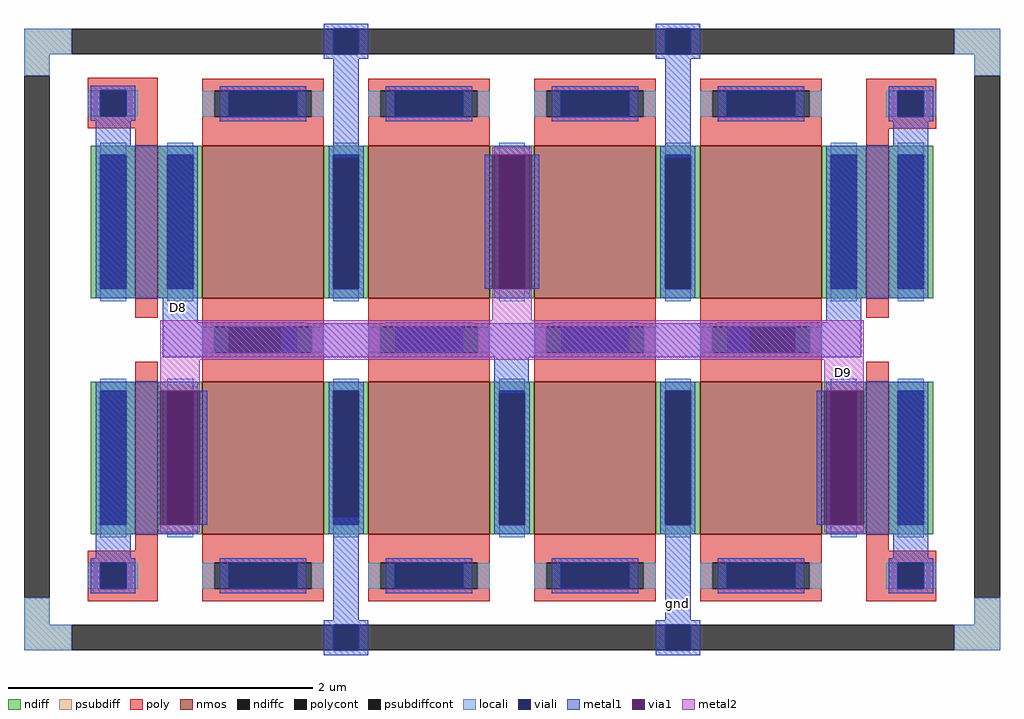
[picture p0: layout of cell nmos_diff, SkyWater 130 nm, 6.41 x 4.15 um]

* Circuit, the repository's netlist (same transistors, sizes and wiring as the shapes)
** sch_path: /home/mona121130125/op_amp/mag/nmos_diff.sch
.subckt nmos_diff D9 D8 gnd
*.PININFO D9:O gnd:B D8:O
XM8 D8 D8 gnd gnd sky130_fd_pr__nfet_01v8 L=0.8 W=1 nf=1 m=4
XM9 D9 D8 gnd gnd sky130_fd_pr__nfet_01v8 L=0.8 W=1 nf=1 m=4
XM2 D9 D9 D9 gnd sky130_fd_pr__nfet_01v8 L=0.15 W=1 nf=1 m=2
XM1 D8 D8 D8 gnd sky130_fd_pr__nfet_01v8 L=0.15 W=1 nf=1 m=2
.ends
.end

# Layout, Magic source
magic
tech sky130A
magscale 1 2
<< psubdiff >>
rect -176 718 -113 752
rect 1046 718 1106 752
rect -176 690 -142 718
rect 1072 690 1106 718
rect -176 -31 -142 4
rect 1072 -31 1106 4
rect -176 -65 -113 -31
rect 1046 -65 1106 -31
<< psubdiffcont >>
rect -113 718 1046 752
rect -176 4 -142 690
rect 1072 4 1106 690
rect -113 -65 1046 -31
<< poly >>
rect -92 671 0 687
rect -92 637 -76 671
rect -42 637 0 671
rect -92 621 0 637
rect -30 618 0 621
rect 930 670 1022 686
rect 930 636 972 670
rect 1006 636 1022 670
rect 930 620 1022 636
rect -92 50 0 66
rect -92 16 -76 50
rect -42 16 0 50
rect -92 0 0 16
rect 930 50 1022 66
rect 930 16 972 50
rect 1006 16 1022 50
rect 930 0 1022 16
<< polycont >>
rect -76 637 -42 671
rect 972 636 1006 670
rect -76 16 -42 50
rect 972 16 1006 50
<< locali >>
rect -176 718 -113 752
rect 1046 718 1106 752
rect -176 690 -142 718
rect 1072 690 1106 718
rect -92 637 -76 671
rect -42 637 -26 671
rect 956 636 972 670
rect 1006 636 1022 670
rect -92 16 -76 50
rect -42 16 -26 50
rect 956 16 972 50
rect 1006 16 1022 50
rect -176 -31 -142 4
rect 1072 -31 1106 4
rect -176 -65 -113 -31
rect 1046 -65 1106 -31
<< viali >>
rect 230 718 264 752
rect 666 718 700 752
rect -76 637 -42 671
rect 972 636 1006 670
rect -76 16 -42 50
rect 972 16 1006 50
rect 230 -65 264 -31
rect 666 -65 700 -31
<< metal1 >>
rect 218 752 276 758
rect 218 718 230 752
rect 264 718 276 752
rect 218 712 276 718
rect 654 752 712 758
rect 654 718 666 752
rect 700 718 712 752
rect 654 712 712 718
rect -88 671 -30 677
rect -88 637 -76 671
rect -42 637 -30 671
rect -88 631 -30 637
rect -82 598 -36 631
rect -82 398 52 598
rect 230 582 264 712
rect 429 410 439 586
rect 491 410 501 586
rect 666 582 700 712
rect 960 670 1018 676
rect 960 636 972 670
rect 1006 636 1018 670
rect 960 630 1018 636
rect 966 598 1012 630
rect 6 366 52 398
rect 878 398 1012 598
rect 878 366 924 398
rect 6 320 86 366
rect 162 320 777 365
rect 845 320 924 366
rect -82 276 52 288
rect -82 100 3 276
rect 55 100 65 276
rect 442 273 487 320
rect 878 276 1012 288
rect -82 88 52 100
rect -82 56 -36 88
rect -88 50 -30 56
rect -88 16 -76 50
rect -42 16 -30 50
rect -88 10 -30 16
rect 230 -25 264 110
rect 865 100 875 276
rect 927 100 1012 276
rect 666 -25 700 91
rect 878 88 1012 100
rect 966 56 1012 88
rect 960 50 1018 56
rect 960 16 972 50
rect 1006 16 1018 50
rect 960 10 1018 16
rect 218 -31 276 -25
rect 218 -65 230 -31
rect 264 -65 276 -31
rect 218 -71 276 -65
rect 654 -31 712 -25
rect 654 -65 666 -31
rect 700 -65 712 -31
rect 654 -71 712 -65
<< via1 >>
rect 439 410 491 586
rect 3 100 55 276
rect 875 100 927 276
<< metal2 >>
rect 439 586 491 596
rect 439 369 491 410
rect 3 317 927 369
rect 3 276 55 317
rect 3 90 55 100
rect 875 276 927 317
rect 875 90 927 100
use sky130_fd_pr__nfet_01v8_6H9P4D  sky130_fd_pr__nfet_01v8_6H9P4D_0
transform 1 0 -15 0 1 498
box -73 -126 73 126
use sky130_fd_pr__nfet_01v8_6H9P4D  sky130_fd_pr__nfet_01v8_6H9P4D_1
transform 1 0 945 0 1 498
box -73 -126 73 126
use sky130_fd_pr__nfet_01v8_6H9P4D  sky130_fd_pr__nfet_01v8_6H9P4D_2
transform 1 0 945 0 1 188
box -73 -126 73 126
use sky130_fd_pr__nfet_01v8_6H9P4D  sky130_fd_pr__nfet_01v8_6H9P4D_3
transform 1 0 -15 0 1 188
box -73 -126 73 126
use sky130_fd_pr__nfet_01v8_YYNGNX  sky130_fd_pr__nfet_01v8_YYNGNX_0
transform 1 0 465 0 1 343
box -465 -343 465 343
<< labels >>
flabel metal1 27 386 27 386 0 FreeSans 1600 0 0 0 D8
port 1 nsew
flabel metal2 900 300 900 300 0 FreeSans 1600 0 0 0 D9
port 2 nsew
flabel metal1 682 -3 682 -3 0 FreeSans 480 0 0 0 gnd
port 3 nsew
<< end >>

# cell sky130_fd_pr__nfet_01v8_6H9P4D: kit device sky130_fd_pr__nfet_01v8, w 1 l 0.150 m 1 nf 1 diffcov 100 polycov 100 guard 0 glc 1 grc 1 gtc 1 gbc 1 tbcov 100 rlcov 100 topc 0 botc 0 poverlap 0 doverlap 1 lmin 0.15 wmin 0.42 compatible {sky130_fd_pr__nfet_01v8 sky130_fd_pr__nfet_01v8_lvt sky130_fd_bs_flash__special_sonosfet_star sky130_fd_pr__nfet_g5v0d10v5 sky130_fd_pr__nfet_05v0_nvt sky130_fd_pr__nfet_03v3_nvt} full_metal 1 viasrc 100 viadrn 100 viagate 100 viagb 0 viagr 0 viagl 0 viagt 0

# cell sky130_fd_pr__nfet_01v8_YYNGNX: kit device sky130_fd_pr__nfet_01v8, w 1 l 0.8 m 2 nf 4 diffcov 100 polycov 100 guard 0 glc 1 grc 1 gtc 1 gbc 1 tbcov 100 rlcov 100 topc 1 botc 1 poverlap 1 doverlap 1 lmin 0.15 wmin 0.42 compatible {sky130_fd_pr__nfet_01v8 sky130_fd_pr__nfet_01v8_lvt sky130_fd_bs_flash__special_sonosfet_star sky130_fd_pr__nfet_g5v0d10v5 sky130_fd_pr__nfet_05v0_nvt sky130_fd_pr__nfet_03v3_nvt} full_metal 1 viasrc 100 viadrn 100 viagate 70 viagb 0 viagr 0 viagl 0 viagt 0
